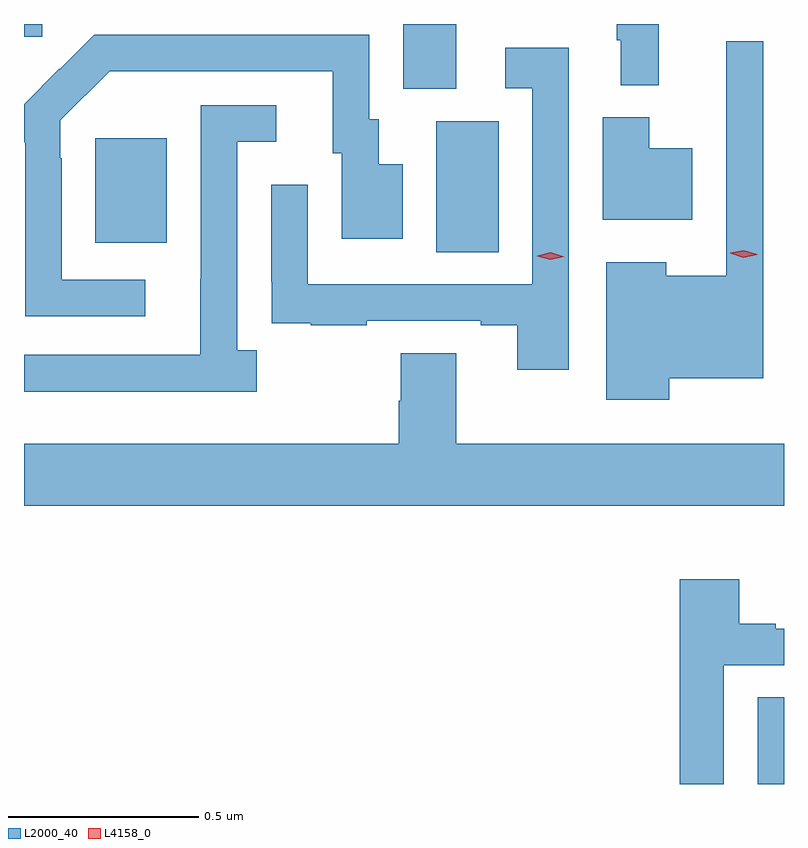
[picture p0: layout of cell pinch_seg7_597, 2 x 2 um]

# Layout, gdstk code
import gdstk
lib = gdstk.Library(unit=1e-6, precision=1e-09)
def R(c, l, rs):  # rectangles x0, y0, x1, y1
    for r in rs: c.add(gdstk.rectangle(r[:2], r[2:], *l))
def P(c, l, *ps):  # polygons
    for p in ps: c.add(gdstk.Polygon(p, *l))
L2000_40 = (2000, 40)
L4158_0 = (4158, 0)

pinch_seg7_597 = lib.new_cell('pinch_seg7_597')
R(pinch_seg7_597, L2000_40, [(125.138,1051.832,125.207,1052.06), (124.292,1053.232,124.456,1053.576), (123.395,1053.257,123.583,1053.532), (124.205,1053.661,124.345,1053.832), (123.207,1053.798,123.255,1053.832)])
P(pinch_seg7_597, L2000_40, [(124.877,1053.832),(124.767,1053.832),(124.767,1053.789),(124.778,1053.789),(124.778,1053.671),(124.877,1053.671)],
  [(123.526,1053.159),(123.306,1053.159),(123.306,1053.479),(123.303,1053.479),(123.303,1053.579),(123.432,1053.708),(124.019,1053.708),(124.019,1053.492),(124.043,1053.492),(124.043,1053.267),(124.204,1053.267),(124.204,1053.463),(124.141,1053.463),(124.141,1053.582),(124.116,1053.582),(124.116,1053.804),(123.392,1053.804),(123.301,1053.713),(123.3,1053.714),(123.207,1053.621),(123.207,1053.521),(123.21,1053.521),(123.21,1053.063),(123.526,1053.063)],
  [(124.905,1052.9),(125.152,1052.9),(125.152,1053.787),(125.055,1053.787),(125.055,1053.169),(124.897,1053.169),(124.897,1053.205),(124.739,1053.205),(124.739,1052.843),(124.905,1052.843)],
  [(124.641,1053.769),(124.473,1053.769),(124.473,1053.663),(124.545,1053.663),(124.545,1053.147),(123.954,1053.147),(123.954,1053.409),(123.858,1053.409),(123.858,1053.154),(123.859,1053.154),(123.859,1053.045),(123.961,1053.045),(123.961,1053.039),(124.109,1053.039),(124.109,1053.051),(124.409,1053.051),(124.409,1053.039),(124.505,1053.039),(124.505,1052.922),(124.641,1052.922)],
  [(123.82,1052.974),(123.768,1052.974),(123.768,1053.522),(123.871,1053.522),(123.871,1053.618),(123.672,1053.618),(123.672,1053.161),(123.671,1053.161),(123.671,1052.961),(123.207,1052.961),(123.207,1052.864),(123.82,1052.864)],
  [(124.966,1053.505),(124.852,1053.505),(124.852,1053.586),(124.73,1053.586),(124.73,1053.317),(124.966,1053.317)],
  [(125.207,1052.728),(124.345,1052.728),(124.345,1052.966),(124.198,1052.966),(124.198,1052.841),(124.193,1052.841),(124.193,1052.728),(123.207,1052.728),(123.207,1052.564),(125.207,1052.564)],
  [(125.049,1052.145),(125.207,1052.145),(125.207,1052.241),(125.185,1052.241),(125.185,1052.254),(125.089,1052.254),(125.089,1052.371),(124.933,1052.371),(124.933,1051.832),(125.049,1051.832)])
P(pinch_seg7_597, L4158_0, [(125.1,1053.217),(125.065,1053.229),(125.065,1053.229),(125.065,1053.23),(125.101,1053.237),(125.136,1053.226),(125.137,1053.226),(125.136,1053.225)],
  [(124.592,1053.211),(124.557,1053.221),(124.557,1053.222),(124.557,1053.222),(124.593,1053.231),(124.629,1053.22),(124.629,1053.22),(124.629,1053.22)])

lib.write_gds('pinch_seg7_597.gds')
